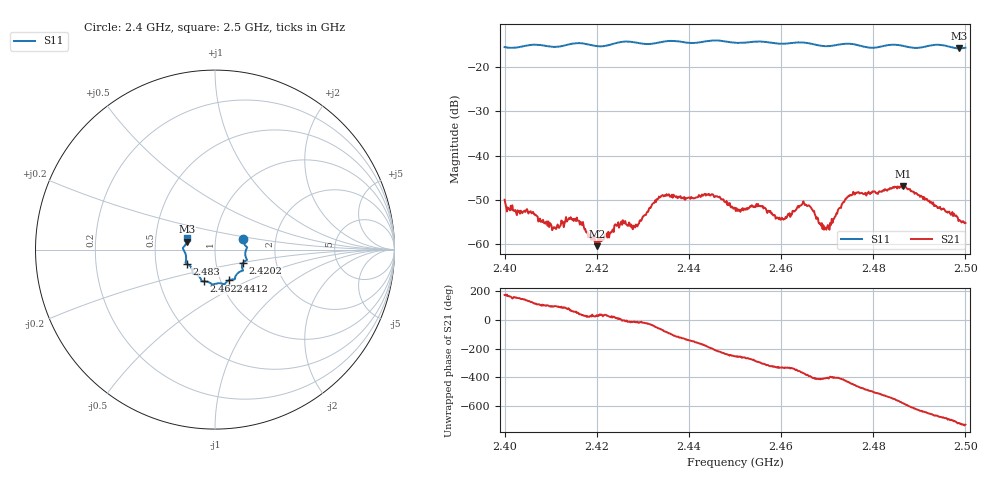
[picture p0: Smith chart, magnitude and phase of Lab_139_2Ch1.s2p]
# Hz S RI R 50
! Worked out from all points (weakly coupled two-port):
!   601 points, 2.4 GHz to 2.5 GHz, reference 50 ohm
!   highest |S21| = -46.88 dB at 2.4865 GHz (marker M1); lowest = -60.5 dB at 2.42 GHz (marker M2)
!   lowest |S11| = -15.8 dB at 2.4987 GHz (marker M3), VSWR 1.39, Z = 36.3 + j3.31 ohm
!   |S11| at or under -10 dB: start of sweep to end of sweep
!   S12 and S22 are empty: the file has one direction only
!   S11 on the Smith chart (normalised r, x): 2.4 GHz: 1.36, +0.17; 2.4202 GHz: 1.35, -0.20; 2.4412 GHz: 1.09, -0.39; 2.4622 GHz: 0.83, -0.30; 2.483 GHz: 0.72, -0.12; 2.5 GHz: 0.73, +0.09
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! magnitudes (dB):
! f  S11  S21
! 2.4 GHz  -15.5  -50.0
! 2.4108 GHz  -15.4  -56.3
! 2.4138 GHz  -14.9  -54.4
! 2.4167 GHz  -14.6  -55.5
! 2.42 GHz  -15.2  -60.5
! 2.4202 GHz  -15.2  -60.0
! 2.4243 GHz  -14.5  -55.9
! 2.4287 GHz  -14.5  -55.8
! 2.4333 GHz  -14.5  -49.7
! 2.4412 GHz  -14.5  -49.6
! 2.4448 GHz  -14.0  -48.8
! 2.45 GHz  -14.5  -51.8
! 2.4622 GHz  -14.5  -53.2
! 2.4645 GHz  -14.4  -51.1
! 2.4667 GHz  -14.7  -52.1
! 2.47 GHz  -15.3  -56.1
! 2.4752 GHz  -14.7  -49.0
! 2.483 GHz  -15.0  -47.9
! 2.4833 GHz  -15.0  -47.6
! 2.4865 GHz  -15.2  -46.9
! 2.4987 GHz  -15.8  -54.5
! 2.5 GHz  -15.6  -55.2
